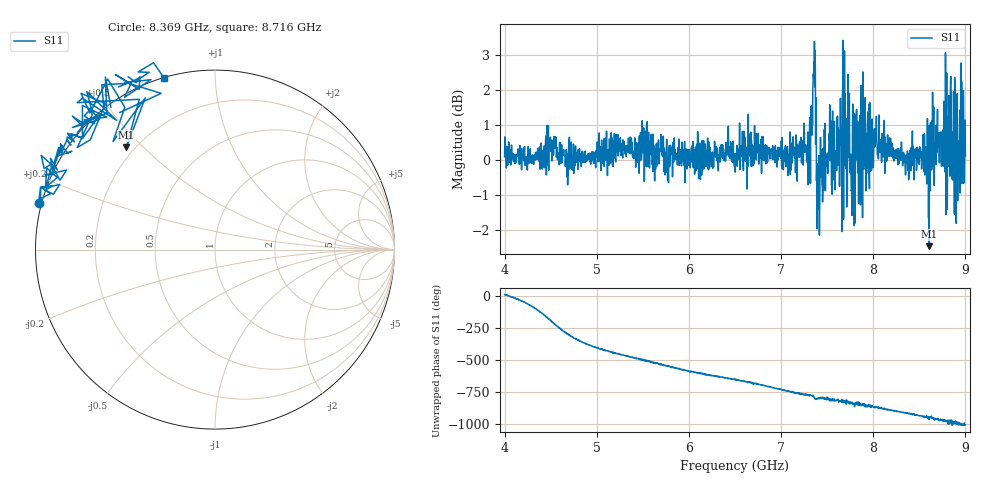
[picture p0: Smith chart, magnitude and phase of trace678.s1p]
! Created with skrf 1.8.0 (http://scikit-rf.org).
# Hz S RI R 50.0
!freq ReS11 ImS11
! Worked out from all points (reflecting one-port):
!   1601 points, 4 GHz to 9 GHz, reference 50 ohm
!   lowest |S11| = -2.5 dB at 8.606 GHz (marker M1), VSWR 7.13, Z = 8.44 + j22.3 ohm
!   phase of S11 starts at 15 deg and turns -1026 deg over the sweep
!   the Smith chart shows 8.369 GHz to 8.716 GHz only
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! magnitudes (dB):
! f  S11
! 4 GHz  0.1
! 4.625 GHz  0.1
! 5.25 GHz  0.3
! 5.875 GHz  -0.1
! 6.5 GHz  0.2
! 6.669 GHz  0.4
! 7.125 GHz  0.2
! 7.294 GHz  -0.7
! 7.356 GHz  2.8
! 7.409 GHz  0.1
! 7.519 GHz  0.5
! 7.609 GHz  0.4
! 7.669 GHz  2.1
! 7.75 GHz  -0.4
! 7.775 GHz  1.0
! 7.822 GHz  0.2
! 7.891 GHz  0.5
! 8.375 GHz  0.1
! 8.606 GHz  -2.5
! 8.634 GHz  -0.3
! 8.738 GHz  0.4
! 8.822 GHz  1.9
! 8.862 GHz  -0.6
! 8.875 GHz  1.0
! 8.888 GHz  1.3
! 8.919 GHz  -0.2
! 8.956 GHz  0.3
! 9 GHz  0.1
